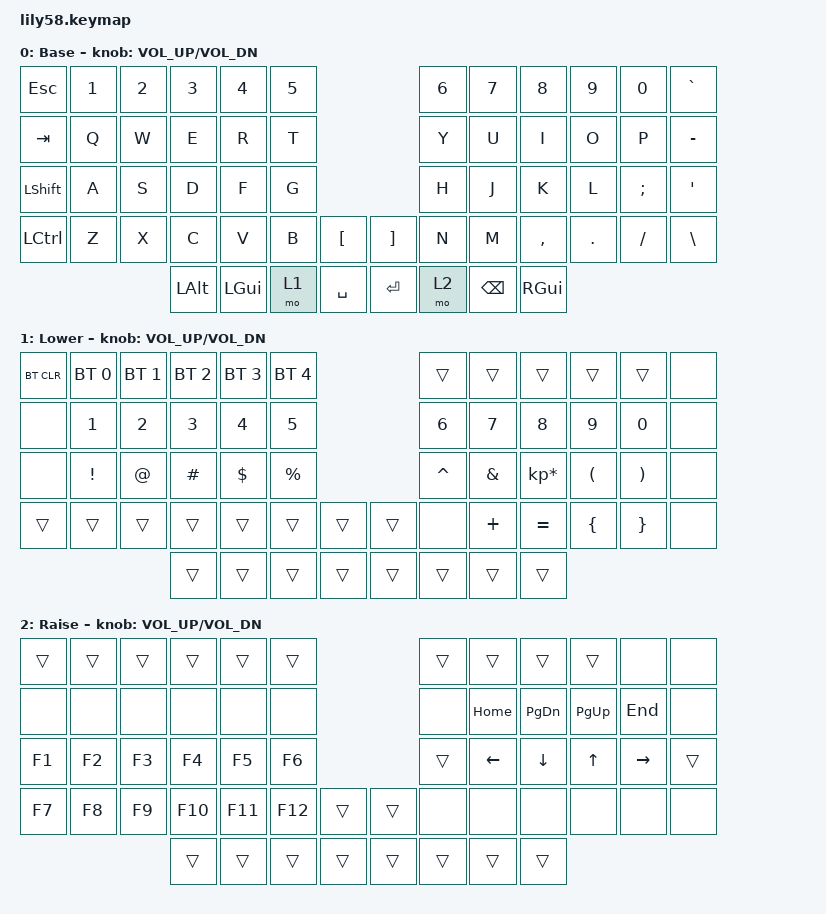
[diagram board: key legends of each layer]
/*
 * Copyright (c) 2020 The ZMK Contributors
 *
 * SPDX-License-Identifier: MIT
 */

#include <behaviors.dtsi>
#include <dt-bindings/zmk/bt.h>
#include <dt-bindings/zmk/keys.h>

/ {
    combos {
        compatible = "zmk,combos";

        Delete {
            bindings = <&kp DELETE>;
            key-positions = <36 56 52>;
        };
    };

    keymap {
        compatible = "zmk,keymap";

        default_layer {
            // ------------------------------------------------------------------------------------------------------------
            // |  ESC  |  1  |  2  |  3   |  4   |  5   |                   |  6   |  7    |  8    |  9   |   0   |   `   |
            // |  TAB  |  Q  |  W  |  E   |  R   |  T   |                   |  Y   |  U    |  I    |  O   |   P   |   -   |
            // |  CTRL |  A  |  S  |  D   |  F   |  G   |                   |  H   |  J    |  K    |  L   |   ;   |   '   |
            // | SHIFT |  Z  |  X  |  C   |  V   |  B   |   "["  |  |  "]"  |  N   |  M    |  ,    |  .   |   /   | SHIFT |
            //                     | ALT  | GUI  | LOWER|  SPACE |  | ENTER | RAISE| BSPC  | GUI   |

            display-name = "Base";
            bindings = <
&kp ESC           &kp N1  &kp N2  &kp N3    &kp N4    &kp N5                         &kp N6  &kp N7    &kp N8     &kp N9   &kp N0    &kp GRAVE
&kp TAB           &kp Q   &kp W   &kp E     &kp R     &kp T                          &kp Y   &kp U     &kp I      &kp O    &kp P     &kp MINUS
&kp LEFT_SHIFT    &kp A   &kp S   &kp D     &kp F     &kp G                          &kp H   &kp J     &kp K      &kp L    &kp SEMI  &kp SQT
&kp LEFT_CONTROL  &kp Z   &kp X   &kp C     &kp V     &kp B   &kp LBKT     &kp RBKT  &kp N   &kp M     &kp COMMA  &kp DOT  &kp FSLH  &kp BACKSLASH
                                  &kp LALT  &kp LGUI  &mo 1   &kp SPACE    &kp RET   &mo 2   &kp BSPC  &kp RGUI
            >;

            sensor-bindings = <&inc_dec_kp C_VOL_UP C_VOL_DN>;
        };

        lower_layer {
            // ------------------------------------------------------------------------------------------------------------
            // | BTCLR | BT1 | BT2 |  BT3 |  BT4 |  BT5 |                   |      |       |       |      |       |       |
            // |  F1   |  F2 |  F3 |  F4  |  F5  |  F6  |                   |  F7  |  F8   |  F9   |  F10 |  F11  |  F12  |
            // |   `   |  !  |  @  |  #   |  $   |  %   |                   |  ^   |  &    |  *    |  (   |   )   |   ~   |
            // |       |     |     |      |      |      |        |  |       |      |  _    |  +    |  {   |   }   |  "|"  |
            //                     |      |      |      |        |  |       |      |       |       |

            display-name = "Lower";
            bindings = <
&bt BT_CLR  &bt BT_SEL 0  &bt BT_SEL 1  &bt BT_SEL 2  &bt BT_SEL 3  &bt BT_SEL 4                    &trans        &trans    &trans           &trans        &trans        &none
&none       &kp NUMBER_1  &kp NUMBER_2  &kp NUMBER_3  &kp NUMBER_4  &kp NUMBER_5                    &kp NUMBER_6  &kp N7    &kp N8           &kp NUMBER_9  &kp NUMBER_0  &none
&none       &kp EXCL      &kp AT        &kp HASH      &kp DOLLAR    &kp PRCNT                       &kp CARET     &kp AMPS  &kp KP_MULTIPLY  &kp LPAR      &kp RPAR      &none
&trans      &trans        &trans        &trans        &trans        &trans        &trans    &trans  &none         &kp PLUS  &kp EQUAL        &kp LBRC      &kp RBRC      &none
                                        &trans        &trans        &trans        &trans    &trans  &trans        &trans    &trans
            >;

            sensor-bindings = <&inc_dec_kp C_VOL_UP C_VOL_DN>;
        };

        raise_layer {
            // ------------------------------------------------------------------------------------------------------------
            // |       |     |     |      |      |      |                   |      |       |       |      |       |       |
            // |   `   |  1  |  2  |  3   |  4   |  5   |                   |  6   |   7   |   8   |  9   |   0   |       |
            // |   F1  |  F2 |  F3 |  F4  |  F5  |  F6  |                   |      |   <-  |   v   |  ^   |  ->   |       |
            // |   F7  |  F8 |  F9 |  F10 |  F11 |  F12 |        |  |       |  +   |   -   |   =   |  [   |   ]   |   \   |
            //                     |      |      |      |        |  |       |      |       |       |

            display-name = "Raise";
            bindings = <
&trans  &trans  &trans  &trans   &trans   &trans                     &trans  &trans    &trans         &trans        &none            &none
&none   &none   &none   &none    &none    &none                      &none   &kp HOME  &kp PAGE_DOWN  &kp PAGE_UP   &kp END          &none
&kp F1  &kp F2  &kp F3  &kp F4   &kp F5   &kp F6                     &trans  &kp LEFT  &kp DOWN       &kp UP_ARROW  &kp RIGHT_ARROW  &trans
&kp F7  &kp F8  &kp F9  &kp F10  &kp F11  &kp F12  &trans    &trans  &none   &none     &none          &none         &none            &none
                        &trans   &trans   &trans   &trans    &trans  &trans  &trans    &trans
            >;

            sensor-bindings = <&inc_dec_kp C_VOL_UP C_VOL_DN>;
        };
    };
};
